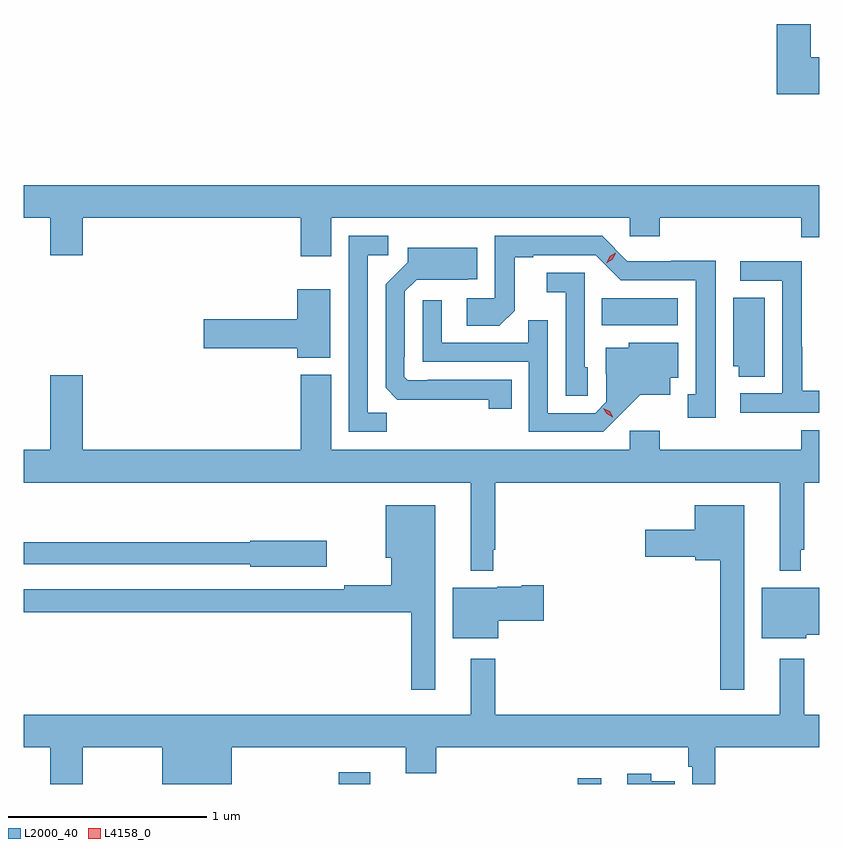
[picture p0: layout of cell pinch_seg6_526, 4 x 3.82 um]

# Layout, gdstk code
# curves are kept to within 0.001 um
import gdstk
lib = gdstk.Library(unit=1e-6, precision=1e-09)
def R(c, l, rs):  # rectangles x0, y0, x1, y1
    for r in rs: c.add(gdstk.rectangle(r[:2], r[2:], *l))
def P(c, l, *ps):  # polygons
    for p in ps: c.add(gdstk.Polygon(p, *l))
L2000_40 = (2000, 40)
L4158_0 = (4158, 0)

pinch_seg6_526 = lib.new_cell('pinch_seg6_526')
R(pinch_seg6_526, L2000_40, [(765.86,939.16,766.018,939.22), (767.062,939.16,767.178,939.19), (767.182,941.468,767.563,941.602)])
P(pinch_seg6_526, L2000_40, [(768.275,942.814),(768.232,942.814),(768.232,942.982),(768.062,942.982),(768.062,942.629),(768.275,942.629)],
  [(765.82,942.008),(767.322,942.008),(767.322,941.915),(767.474,941.915),(767.474,942.008),(768.185,942.008),(768.185,941.909),(768.275,941.909),(768.275,942.172),(764.275,942.172),(764.275,942.008),(764.408,942.008),(764.408,941.82),(764.572,941.82),(764.572,942.008),(765.668,942.008),(765.668,941.814),(765.82,941.814)],
  [(767.755,941.792),(767.532,941.792),(767.532,941.79),(767.31,941.79),(767.184,941.916),(766.644,941.916),(766.644,941.604),(766.503,941.604),(766.503,941.464),(766.667,941.464),(766.743,941.54),(766.743,941.808),(766.837,941.808),(766.837,941.82),(767.151,941.82),(767.277,941.694),(767.654,941.694),(767.654,941.121),(767.615,941.121),(767.615,941.001),(767.755,941.001)],
  [(766.101,941.027),(766.005,941.027),(766.005,941.82),(766.108,941.82),(766.108,941.916),(765.909,941.916),(765.909,940.932),(766.101,940.932)],
  [(766.73,941.193),(766.306,941.193),(766.306,941.19),(766.206,941.19),(766.188,941.208),(766.188,941.308),(766.191,941.308),(766.191,941.637),(766.251,941.697),(766.508,941.696),(766.511,941.699),(766.555,941.699),(766.555,941.857),(766.205,941.857),(766.205,941.784),(766.095,941.674),(766.095,941.152),(766.154,941.093),(766.612,941.092),(766.612,941.046),(766.73,941.046)],
  [(768.275,941.137),(768.189,941.137),(768.189,941.36),(768.186,941.36),(768.186,941.79),(767.877,941.79),(767.877,941.691),(768.09,941.691),(768.09,941.124),(767.877,941.124),(767.877,941.028),(768.275,941.028)],
  [(767.112,941.256),(767.097,941.256),(767.097,941.73),(766.905,941.73),(766.905,941.633),(767.001,941.633),(767.001,941.113),(767.112,941.113)],
  [(765.817,941.647),(765.65,941.647),(765.65,941.498),(765.18,941.498),(765.18,941.351),(765.65,941.351),(765.65,941.303),(765.817,941.303)],
  [(768.001,941.606),(767.843,941.606),(767.843,941.262),(767.87,941.262),(767.87,941.209),(768.001,941.209)],
  [(767.272,941.015),(767.375,941.117),(767.527,941.117),(767.527,941.204),(767.566,941.204),(767.566,941.38),(767.316,941.38),(767.316,941.353),(767.201,941.353),(767.201,941.224),(767.205,941.224),(767.205,941.082),(767.148,941.025),(766.911,941.025),(766.911,941.492),(766.813,941.492),(766.813,941.379),(766.377,941.379),(766.377,941.593),(766.281,941.593),(766.281,941.283),(766.815,941.283),(766.815,940.932),(767.188,940.932)],
  [(766.637,940.339),(766.645,940.339),(766.645,940.676),(768.077,940.676),(768.077,940.232),(768.181,940.232),(768.181,940.339),(768.199,940.339),(768.199,940.676),(768.275,940.676),(768.275,940.939),(768.185,940.939),(768.185,940.84),(767.474,940.84),(767.474,940.936),(767.322,940.936),(767.322,940.84),(765.82,940.84),(765.82,941.218),(765.668,941.218),(765.668,940.84),(764.572,940.84),(764.572,941.215),(764.408,941.215),(764.408,940.84),(764.275,940.84),(764.275,940.676),(766.523,940.676),(766.523,940.232),(766.637,940.232)],
  [(767.899,940.561),(767.648,940.561),(767.648,940.438),(767.4,940.438),(767.4,940.304),(767.652,940.304),(767.652,940.286),(767.778,940.286),(767.778,939.633),(767.899,939.633)],
  [(766.345,940.561),(766.094,940.561),(766.094,940.298),(766.124,940.298),(766.124,940.16),(765.886,940.16),(765.886,940.14),(764.275,940.14),(764.275,940.024),(766.224,940.024),(766.224,939.633),(766.345,939.633)],
  [(765.799,940.383),(765.414,940.383),(765.414,940.375),(764.275,940.375),(764.275,940.266),(765.414,940.266),(765.414,940.253),(765.799,940.253)],
  [(766.66,939.982),(766.891,939.982),(766.891,940.16),(766.778,940.16),(766.778,940.153),(766.656,940.153),(766.656,940.147),(766.433,940.147),(766.433,939.893),(766.66,939.893)],
  [(768.21,939.911),(768.275,939.911),(768.275,940.147),(767.987,940.147),(767.987,939.893),(768.21,939.893)],
  [(764.572,939.344),(764.972,939.344),(764.972,939.16),(765.322,939.16),(765.322,939.344),(766.196,939.344),(766.196,939.214),(766.349,939.214),(766.349,939.344),(767.617,939.344),(767.617,939.248),(767.637,939.248),(767.637,939.16),(767.753,939.16),(767.753,939.344),(768.275,939.344),(768.275,939.508),(768.199,939.508),(768.199,939.79),(768.077,939.79),(768.077,939.508),(766.645,939.508),(766.645,939.79),(766.523,939.79),(766.523,939.508),(764.275,939.508),(764.275,939.344),(764.408,939.344),(764.408,939.16),(764.572,939.16)],
  [(767.548,939.175),(767.431,939.175),(767.431,939.211),(767.309,939.211),(767.309,939.16),(767.548,939.16)])
P(pinch_seg6_526, L4158_0, [(767.204,941.78),(767.204,941.78),(767.221,941.813),(767.253,941.832),(767.253,941.832),(767.253,941.832),(767.236,941.799),(767.205,941.78)],
  [(767.237,941.005),(767.207,941.021),(767.19,941.05),(767.19,941.05),(767.19,941.05),(767.221,941.035),(767.238,941.006),(767.238,941.005)])

lib.write_gds('pinch_seg6_526.gds')
